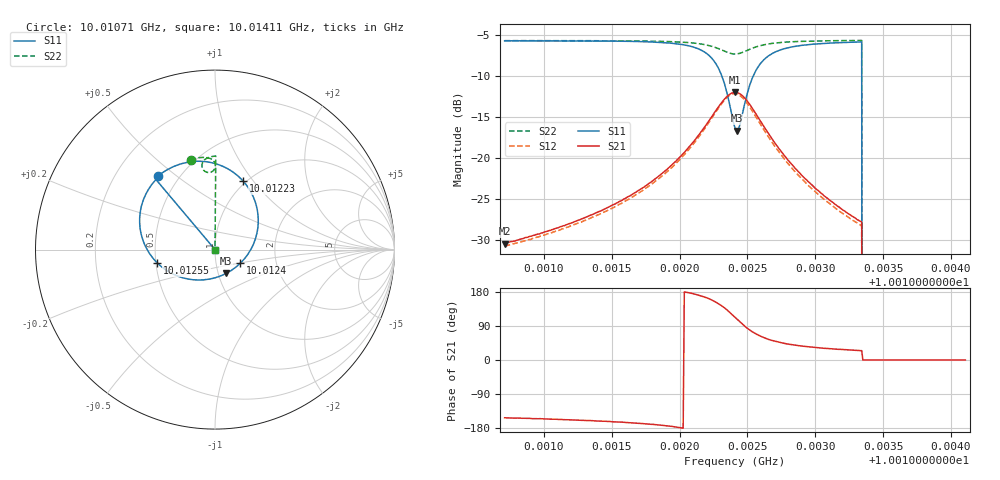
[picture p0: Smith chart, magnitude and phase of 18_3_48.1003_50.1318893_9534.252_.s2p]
#  HZ  S  RI  R  50.00
! Rohde & Schwarz Vector Network Analyzer
! Rohde-Schwarz,ZNB20-2Port,1311601062101988,3.16
! Created: UTC 12/23/2023, 3:36:23 AM
! freq[Hz]  re:S11  im:S11  re:S21  im:S21  re:S12  im:S12  re:S22  im:S22
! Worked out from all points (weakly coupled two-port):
!   401 points, 10.01071 GHz to 10.01411 GHz, reference 50 ohm
!   highest |S21| = -12.00 dB at 10.01241 GHz (marker M1); lowest = -30.5 dB at 10.01071 GHz (marker M2)
!   lowest |S11| = -16.7 dB at 10.01243 GHz (marker M3), VSWR 1.34, Z = 54.5 - j14.8 ohm
!   |S11| at or under -10 dB: 10.01231 GHz to 10.01254 GHz (231.8 kHz wide, 0.00231 % of centre); 10.01334 GHz to end of sweep
!   |S22| runs from - to -5.7 dB; largest |S21 - S12| = 0.011
!   S11 on the Smith chart (normalised r, x): 10.01071 GHz: 0.38, +0.43; 10.01223 GHz: 0.97, +0.89; 10.0124 GHz: 1.31, -0.20; 10.01255 GHz: 0.51, -0.09; 10.01411 GHz: 1.00, +0.00
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1.0010711e10  -0.3196 0.4087  -0.0265 -0.0138  -0.0248 -0.0147  -0.1362 0.5017
1.001128e10  -0.2617 0.4476  -0.0397 -0.0149  -0.0371 -0.0164  -0.0968 0.5107
1.0011585e10  -0.2113 0.4706  -0.0536 -0.0152  -0.0507 -0.0171  -0.0728 0.5133
1.0011848e10  -0.137 0.4892  -0.0766 -0.0115  -0.0732 -0.0151  -0.0484 0.5129
1.0012095e10  0.00808 0.4772  -0.1226 0.00983  -0.1194 0.00294  -0.0189 0.5035
1.001223e10  0.1577 0.3805  -0.1638 0.0611  -0.1635 0.0509  -0.000703 0.482
1.001229e10  0.2235 0.2675  -0.1747 0.1097  -0.177 0.0989  0.00206 0.4638
1.0012332e10  0.2408 0.1455  -0.1684 0.1552  -0.172 0.1459  -0.00289 0.4483
1.0012366e10  0.2148 0.0314  -0.1461 0.1949  -0.1511 0.1864  -0.013 0.4367
1.00124e10  0.142 -0.0751  -0.1079 0.2263  -0.1133 0.2189  -0.0281 0.4302
1.0012409e10  0.1182 -0.0962  -0.0969 0.2318  -0.1024 0.2244  -0.0321 0.4295
1.0012426e10  0.0619 -0.1329  -0.0727 0.2393  -0.078 0.2322  -0.041 0.4298
1.0012443e10  0.000175 -0.1573  -0.0482 0.2417  -0.0528 0.2351  -0.049 0.4322
1.0012477e10  -0.1227 -0.168  -0.00165 0.2337  -0.00718 0.2268  -0.0618 0.4407
1.0012553e10  -0.3214 -0.0745  0.063 0.1803  0.0554 0.1751  -0.0729 0.4672
1.0012629e10  -0.4002 0.0486  0.0809 0.1284  0.0729 0.1251  -0.068 0.4873
1.001274e10  -0.4195 0.1767  0.0772 0.0812  0.0705 0.0798  -0.0546 0.5035
1.0012977e10  -0.3845 0.3107  0.0564 0.038  0.0519 0.0383  -0.0277 0.5165
1.0013325e10  -0.3311 0.388  0.0373 0.0174  0.0347 0.0184  0.00289 0.5213
1.0013368e10  0 0  0 0  0 0  0 0
1.0013546e10  0 0  0 0  0 0  0 0
1.0014106e10  0 0  0 0  0 0  0 0
